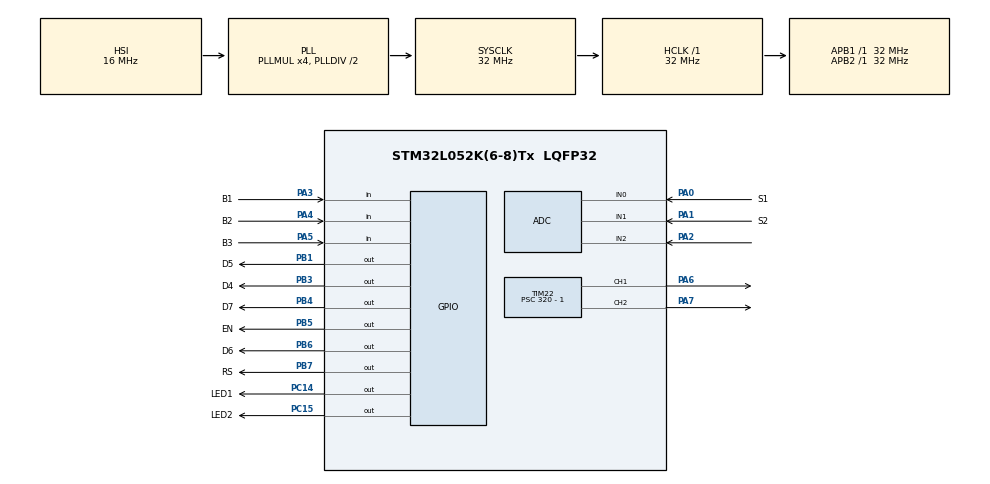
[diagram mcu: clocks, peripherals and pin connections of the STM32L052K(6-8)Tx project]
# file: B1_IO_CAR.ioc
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ADC.ContinuousConvMode=ENABLE
Mcu.Family=STM32L0
Mcu.Name=STM32L052K(6-8)Tx
Mcu.Package=LQFP32
PA0.GPIO_Label=S1
PA0.Mode=IN0
PA0.Signal=ADC_IN0
PA1.GPIO_Label=S2
PA1.Mode=IN1
PA1.Signal=ADC_IN1
PA2.Mode=IN2
PA2.Signal=ADC_IN2
PA3.GPIO_Label=B1
PA3.Signal=GPIO_Input
PA4.GPIO_Label=B2
PA4.Signal=GPIO_Input
PA5.GPIO_Label=B3
PA5.Signal=GPIO_Input
PA6.Signal=S_TIM22_CH1
PA7.Signal=S_TIM22_CH2
PB1.GPIO_Label=D5
PB1.Signal=GPIO_Output
PB3.GPIO_Label=D4
PB3.Signal=GPIO_Output
PB4.GPIO_Label=D7
PB4.Signal=GPIO_Output
PB5.GPIO_Label=EN
PB5.Signal=GPIO_Output
PB6.GPIO_Label=D6
PB6.Signal=GPIO_Output
PB7.GPIO_Label=RS
PB7.Signal=GPIO_Output
PC14-OSC32_IN.GPIO_Label=LED1
PC14-OSC32_IN.Signal=GPIO_Output
PC15-OSC32_OUT.GPIO_Label=LED2
PC15-OSC32_OUT.Signal=GPIO_Output
ProjectManager.HeapSize=0x200
ProjectManager.StackSize=0x400
ProjectManager.TargetToolchain=STM32CubeIDE
RCC.AHBFreq_Value=32000000
RCC.APB1Freq_Value=32000000
RCC.APB1TimFreq_Value=32000000
RCC.APB2Freq_Value=32000000
RCC.APB2TimFreq_Value=32000000
RCC.HCLKFreq_Value=32000000
RCC.HSI16_VALUE=16000000
RCC.HSI48_VALUE=48000000
RCC.HSI_VALUE=16000000
RCC.LSE_VALUE=32768
RCC.MSI_VALUE=2097000
RCC.PLLMUL=RCC_PLLMUL_4
RCC.SYSCLKFreq_VALUE=32000000
RCC.SYSCLKSource=RCC_SYSCLKSOURCE_PLLCLK
RCC.VCOOutputFreq_Value=64000000
SH.S_TIM22_CH1.0=TIM22_CH1,PWM Generation1 CH1
SH.S_TIM22_CH2.0=TIM22_CH2,PWM Generation2 CH2
TIM22.Channel-PWM\ Generation1\ CH1=TIM_CHANNEL_1
TIM22.Channel-PWM\ Generation2\ CH2=TIM_CHANNEL_2
TIM22.OCPolarity_1=TIM_OCPOLARITY_LOW
TIM22.OCPolarity_2=TIM_OCPOLARITY_LOW
TIM22.Period=2000 - 1
TIM22.Prescaler=320 - 1
VP_TIM22_VS_ClockSourceINT.Mode=Internal
board=custom

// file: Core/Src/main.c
/* USER CODE BEGIN Header */
/**
 ******************************************************************************
 * @file           : main.c
 * @brief          : Main program body
 ******************************************************************************
 * @attention
 *
 * Copyright (c) 2026 STMicroelectronics.
 * All rights reserved.
 *
 * This software is licensed under terms that can be found in the LICENSE file
 * in the root directory of this software component.
 * If no LICENSE file comes with this software, it is provided AS-IS.
 *
 ******************************************************************************
 */
/* USER CODE END Header */
#include "main.h"
#include "adc.h"
#include "tim.h"
#include "gpio.h"

/* USER CODE BEGIN Includes */

#include <stdio.h>
#include <stdbool.h>
#include <LCD.h>

/* USER CODE END Includes */

/* USER CODE BEGIN PTD */

typedef struct {

	bool but[3];
	int an[3];
} in_t;

typedef struct {

	char convert[16];
} out_t;

typedef struct {

	uint32_t time, time_en;
	bool toggleservo, toggle_en;
} logic_t;

/* USER CODE END PTD */

/* USER CODE BEGIN PD */

#define min_servo1 40
#define min_servo2 40
#define servo1_60 105
#define servo2_60 110
#define servo1_120 165
#define servo2_120 165
#define max_servo1 235
#define max_servo2 250

/* USER CODE END PD */

/* USER CODE BEGIN PV */

in_t in;
out_t out;
logic_t logic;

/* USER CODE END PV */

void SystemClock_Config(void);

/* USER CODE BEGIN 0 */

float map(float in_x, float in_min, float in_max, float out_min, float out_max) {

	return (out_min
			+ (((in_x - in_min) / (in_max - in_min)) * (out_max - out_min)));
}

void LCD_Write(int cmd, int dado) {

	cmd ? HAL_GPIO_WritePin(RS_GPIO_Port, RS_Pin, 1) : HAL_GPIO_WritePin(
	RS_GPIO_Port, RS_Pin, 0);

	HAL_GPIO_WritePin(D7_GPIO_Port, D7_Pin, (dado & 0x80));
	HAL_GPIO_WritePin(D6_GPIO_Port, D6_Pin, (dado & 0x40));
	HAL_GPIO_WritePin(D5_GPIO_Port, D5_Pin, (dado & 0x20));
	HAL_GPIO_WritePin(D4_GPIO_Port, D4_Pin, (dado & 0x10));

	HAL_GPIO_WritePin(EN_GPIO_Port, EN_Pin, 1);
	HAL_Delay(1);
	HAL_GPIO_WritePin(EN_GPIO_Port, EN_Pin, 0);

	HAL_GPIO_WritePin(D7_GPIO_Port, D7_Pin, (dado & 0x08));
	HAL_GPIO_WritePin(D6_GPIO_Port, D6_Pin, (dado & 0x04));
	HAL_GPIO_WritePin(D5_GPIO_Port, D5_Pin, (dado & 0x02));
	HAL_GPIO_WritePin(D4_GPIO_Port, D4_Pin, (dado & 0x01));

	HAL_GPIO_WritePin(EN_GPIO_Port, EN_Pin, 1);
	HAL_Delay(1);
	HAL_GPIO_WritePin(EN_GPIO_Port, EN_Pin, 0);
}

void LCD_String(char *ptr) {
	while (*ptr)
		LCD_Write(1, *ptr++);
}

void LCD_Start() {

	HAL_Delay(20);
	LCD_Write(0, 0x33);
	HAL_Delay(20);
	LCD_Write(0, 0x32);
	HAL_Delay(20);
	LCD_Write(0, 0x28);
	HAL_Delay(20);
	LCD_Write(0, 0x0F);
	HAL_Delay(20);
	LCD_Write(0, 0x06);
	HAL_Delay(20);
	LCD_Write(0, 0x01);
}

void task() {

	HAL_ADC_Start(&hadc);
	HAL_ADC_PollForConversion(&hadc, 10);
	in.an[0] = HAL_ADC_GetValue(&hadc);

	HAL_ADC_Start(&hadc);
	HAL_ADC_PollForConversion(&hadc, 10);
	in.an[1] = HAL_ADC_GetValue(&hadc);

	HAL_ADC_Start(&hadc);
	HAL_ADC_PollForConversion(&hadc, 10);
	in.an[2] = HAL_ADC_GetValue(&hadc);
	HAL_ADC_Stop(&hadc);

	in.but[0] = !HAL_GPIO_ReadPin(B1_GPIO_Port, B1_Pin);
	in.but[1] = !HAL_GPIO_ReadPin(B2_GPIO_Port, B2_Pin);
	in.but[2] = HAL_GPIO_ReadPin(B3_GPIO_Port, B3_Pin);

	//analogs begin

	in.an[0] < 4000 ?
			HAL_GPIO_WritePin(LED1_GPIO_Port, LED1_Pin, 1) :
			HAL_GPIO_WritePin(LED1_GPIO_Port, LED1_Pin, 0);

	in.an[1] < 4000 ?
			HAL_GPIO_WritePin(LED2_GPIO_Port, LED2_Pin, 1) :
			HAL_GPIO_WritePin(LED2_GPIO_Port, LED2_Pin, 0);

	in.an[2] = in.an[2] < 60 ? 0 : in.an[2];

	in.an[2] = in.an[2] >= 4095 ? 4096 : in.an[2];

	//analogs end

	//write display begin
	sprintf(out.convert, "%d", in.but[0]);
	LCD_Write(0, 0x83);
	LCD_String(out.convert);

	sprintf(out.convert, "%d", in.but[1]);
	LCD_Write(0, 0x89);
	LCD_String(out.convert);

	sprintf(out.convert, "%d", in.but[2]);
	LCD_Write(0, 0x8F);
	LCD_String(out.convert);

	sprintf(out.convert, "%04d", in.an[2]);
	LCD_Write(0, 0xC8);
	LCD_String(out.convert);
	//write display end

	//servo begin

	if (!logic.toggleservo) {

		if (HAL_GetTick() - logic.time < 1500) {
			__HAL_TIM_SET_COMPARE(&htim22, TIM_CHANNEL_1, min_servo1);
		}

		if (HAL_GetTick() - logic.time > 1500
				&& HAL_GetTick() - logic.time < 2500) {

			__HAL_TIM_SET_COMPARE(&htim22, TIM_CHANNEL_1, servo1_120);
		}

		if (HAL_GetTick() - logic.time > 2500
				&& HAL_GetTick() - logic.time < 3300) {

			__HAL_TIM_SET_COMPARE(&htim22, TIM_CHANNEL_1, servo1_60);
		}

		if (HAL_GetTick() - logic.time > 3300
				&& HAL_GetTick() - logic.time < 4000) {

			__HAL_TIM_SET_COMPARE(&htim22, TIM_CHANNEL_1, max_servo1);
		}

		if (HAL_GetTick() - logic.time > 4000) {

			logic.time = HAL_GetTick();
			logic.toggleservo = !logic.toggleservo;
		}

	}

	if (logic.toggleservo) {

		if (HAL_GetTick() - logic.time < 1500) {
			__HAL_TIM_SET_COMPARE(&htim22, TIM_CHANNEL_2, min_servo2);
		}

		if (HAL_GetTick() - logic.time > 1500
				&& HAL_GetTick() - logic.time < 2500) {

			__HAL_TIM_SET_COMPARE(&htim22, TIM_CHANNEL_2, servo2_120);
		}

		if (HAL_GetTick() - logic.time > 2500
				&& HAL_GetTick() - logic.time < 3300) {

			__HAL_TIM_SET_COMPARE(&htim22, TIM_CHANNEL_2, servo2_60);
		}

		if (HAL_GetTick() - logic.time > 3300
				&& HAL_GetTick() - logic.time < 4000) {

			__HAL_TIM_SET_COMPARE(&htim22, TIM_CHANNEL_2, max_servo2);
		}

		if (HAL_GetTick() - logic.time > 4000) {

			logic.time = HAL_GetTick();
			logic.toggleservo = !logic.toggleservo;
		}

	}

	//servo end

}

//menu switch mode end
/* USER CODE END 0 */

int main(void) {

	/* MCU Configuration--------------------------------------------------------*/

	/* Reset of all peripherals, Initializes the Flash interface and the Systick. */
	HAL_Init();

	/* Configure the system clock */
	SystemClock_Config();

	/* Initialize all configured peripherals */
	MX_GPIO_Init();
	MX_ADC_Init();
	MX_TIM22_Init();
	/* USER CODE BEGIN 2 */

	HAL_TIM_PWM_Start(&htim22, TIM_CHANNEL_1);
	HAL_TIM_PWM_Start(&htim22, TIM_CHANNEL_2);

	LCD_Start();

	//initial menu begin
	LCD_String("    SELETIVA   ");
	LCD_Write(0, 0xC0);
	LCD_String("WORLD SKILLS  25");
	HAL_Delay(1500);
	//initial menu end

	//sub menu begin
	LCD_Write(0, 0x01);
	LCD_String("B1:   B2:   B3: ");
	LCD_Write(0, 0xC0);
	LCD_String("    POT:        ");
	LCD_Write(0, 0x0C);
	//sub menu end

	logic.time = HAL_GetTick();

	/* USER CODE END 2 */

	/* Infinite loop */
	/* USER CODE BEGIN WHILE */
	while (1) {

		task();

		//task();

		/* USER CODE END WHILE */

	}
}

void SystemClock_Config(void) {
	RCC_OscInitTypeDef RCC_OscInitStruct = { 0 };
	RCC_ClkInitTypeDef RCC_ClkInitStruct = { 0 };

	/** Configure the main internal regulator output voltage
	 */
	__HAL_PWR_VOLTAGESCALING_CONFIG(PWR_REGULATOR_VOLTAGE_SCALE1);

	/** Initializes the RCC Oscillators according to the specified parameters
	 * in the RCC_OscInitTypeDef structure.
	 */
	RCC_OscInitStruct.OscillatorType = RCC_OSCILLATORTYPE_HSI;
	RCC_OscInitStruct.HSIState = RCC_HSI_ON;
	RCC_OscInitStruct.HSICalibrationValue = RCC_HSICALIBRATION_DEFAULT;
	RCC_OscInitStruct.PLL.PLLState = RCC_PLL_ON;
	RCC_OscInitStruct.PLL.PLLSource = RCC_PLLSOURCE_HSI;
	RCC_OscInitStruct.PLL.PLLMUL = RCC_PLLMUL_4;
	RCC_OscInitStruct.PLL.PLLDIV = RCC_PLLDIV_2;
	if (HAL_RCC_OscConfig(&RCC_OscInitStruct) != HAL_OK) {
		Error_Handler();
	}

	/** Initializes the CPU, AHB and APB buses clocks
	 */
	RCC_ClkInitStruct.ClockType = RCC_CLOCKTYPE_HCLK | RCC_CLOCKTYPE_SYSCLK
			| RCC_CLOCKTYPE_PCLK1 | RCC_CLOCKTYPE_PCLK2;
	RCC_ClkInitStruct.SYSCLKSource = RCC_SYSCLKSOURCE_PLLCLK;
	RCC_ClkInitStruct.AHBCLKDivider = RCC_SYSCLK_DIV1;
	RCC_ClkInitStruct.APB1CLKDivider = RCC_HCLK_DIV1;
	RCC_ClkInitStruct.APB2CLKDivider = RCC_HCLK_DIV1;

	if (HAL_RCC_ClockConfig(&RCC_ClkInitStruct, FLASH_LATENCY_1) != HAL_OK) {
		Error_Handler();
	}
}

void Error_Handler(void) {
	__disable_irq();
	while (1) {
	}
}
